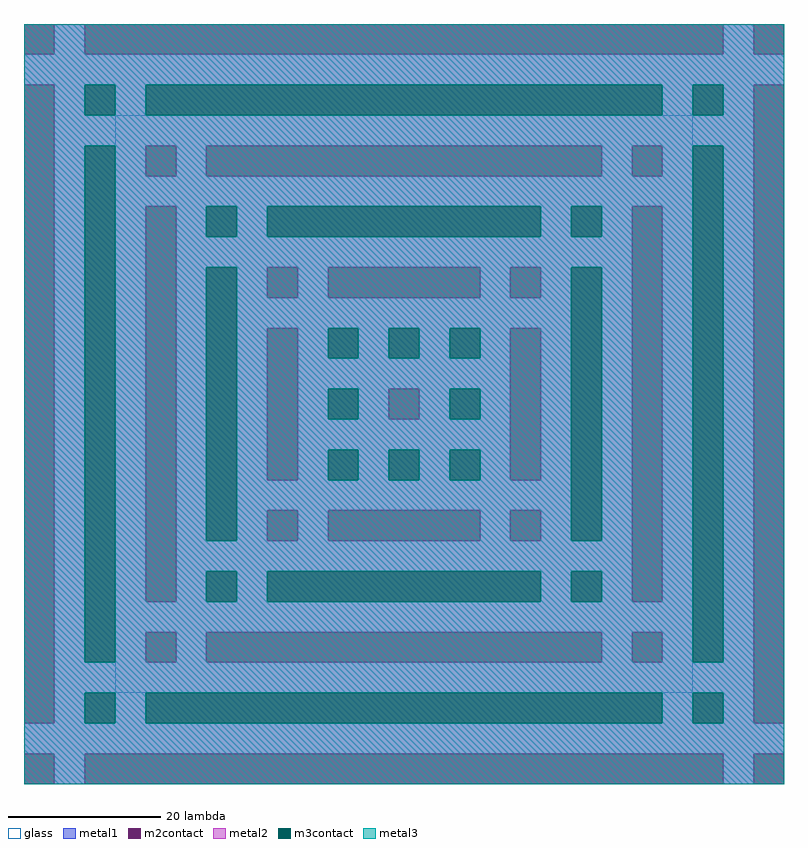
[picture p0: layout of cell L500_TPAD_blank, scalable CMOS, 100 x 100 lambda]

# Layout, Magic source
magic
tech scmos
<< metal1 >>
rect 4 96 8 100
rect 92 96 96 100
rect 0 92 100 96
rect 4 84 96 92
rect 4 80 16 84
rect 20 80 24 84
rect 76 80 80 84
rect 84 80 96 84
rect 4 76 96 80
rect 4 24 16 76
rect 20 68 80 76
rect 20 64 32 68
rect 36 64 40 68
rect 60 64 64 68
rect 68 64 80 68
rect 20 60 80 64
rect 20 40 32 60
rect 36 52 64 60
rect 36 48 48 52
rect 52 48 64 52
rect 36 40 64 48
rect 68 40 80 60
rect 20 36 80 40
rect 20 32 32 36
rect 36 32 40 36
rect 60 32 64 36
rect 68 32 80 36
rect 20 24 80 32
rect 84 24 96 76
rect 4 20 96 24
rect 4 16 16 20
rect 20 16 24 20
rect 76 16 80 20
rect 84 16 96 20
rect 4 8 96 16
rect 0 4 100 8
rect 4 0 8 4
rect 92 0 96 4
<< metal2 >>
rect 4 96 8 100
rect 92 96 96 100
rect 0 92 100 96
rect 4 88 8 92
rect 12 88 16 92
rect 84 88 88 92
rect 92 88 96 92
rect 4 84 96 88
rect 4 16 8 84
rect 12 80 16 84
rect 20 80 24 84
rect 76 80 80 84
rect 84 80 88 84
rect 12 76 88 80
rect 12 24 16 76
rect 20 72 24 76
rect 28 72 32 76
rect 68 72 72 76
rect 76 72 80 76
rect 20 68 80 72
rect 20 32 24 68
rect 28 64 32 68
rect 36 64 40 68
rect 60 64 64 68
rect 68 64 72 68
rect 28 60 72 64
rect 28 40 32 60
rect 36 56 40 60
rect 44 56 48 60
rect 52 56 56 60
rect 60 56 64 60
rect 36 52 64 56
rect 36 48 40 52
rect 44 48 48 52
rect 52 48 56 52
rect 60 48 64 52
rect 36 44 64 48
rect 36 40 40 44
rect 44 40 48 44
rect 52 40 56 44
rect 60 40 64 44
rect 68 40 72 60
rect 28 36 72 40
rect 28 32 32 36
rect 36 32 40 36
rect 60 32 64 36
rect 68 32 72 36
rect 76 32 80 68
rect 20 28 80 32
rect 20 24 24 28
rect 28 24 32 28
rect 68 24 72 28
rect 76 24 80 28
rect 84 24 88 76
rect 12 20 88 24
rect 12 16 16 20
rect 20 16 24 20
rect 76 16 80 20
rect 84 16 88 20
rect 92 16 96 84
rect 4 12 96 16
rect 4 8 8 12
rect 12 8 16 12
rect 84 8 88 12
rect 92 8 96 12
rect 0 4 100 8
rect 4 0 8 4
rect 92 0 96 4
<< metal3 >>
rect 0 92 100 100
rect 0 88 8 92
rect 12 88 16 92
rect 84 88 88 92
rect 92 88 100 92
rect 0 84 100 88
rect 0 16 8 84
rect 12 76 88 84
rect 12 72 24 76
rect 28 72 32 76
rect 68 72 72 76
rect 76 72 88 76
rect 12 68 88 72
rect 12 32 24 68
rect 28 60 72 68
rect 28 56 40 60
rect 44 56 48 60
rect 52 56 56 60
rect 60 56 72 60
rect 28 52 72 56
rect 28 48 40 52
rect 44 48 56 52
rect 60 48 72 52
rect 28 44 72 48
rect 28 40 40 44
rect 44 40 48 44
rect 52 40 56 44
rect 60 40 72 44
rect 28 32 72 40
rect 76 32 88 68
rect 12 28 88 32
rect 12 24 24 28
rect 28 24 32 28
rect 68 24 72 28
rect 76 24 88 28
rect 12 16 88 24
rect 92 16 100 84
rect 0 12 100 16
rect 0 8 8 12
rect 12 8 16 12
rect 84 8 88 12
rect 92 8 100 12
rect 0 0 100 8
<< m2contact >>
rect 0 96 4 100
rect 8 96 92 100
rect 96 96 100 100
rect 0 8 4 92
rect 16 80 20 84
rect 24 80 76 84
rect 80 80 84 84
rect 16 24 20 76
rect 32 64 36 68
rect 40 64 60 68
rect 64 64 68 68
rect 32 40 36 60
rect 48 48 52 52
rect 64 40 68 60
rect 32 32 36 36
rect 40 32 60 36
rect 64 32 68 36
rect 80 24 84 76
rect 16 16 20 20
rect 24 16 76 20
rect 80 16 84 20
rect 96 8 100 92
rect 0 0 4 4
rect 8 0 92 4
rect 96 0 100 4
<< m3contact >>
rect 8 88 12 92
rect 16 88 84 92
rect 88 88 92 92
rect 8 16 12 84
rect 24 72 28 76
rect 32 72 68 76
rect 72 72 76 76
rect 24 32 28 68
rect 40 56 44 60
rect 48 56 52 60
rect 56 56 60 60
rect 40 48 44 52
rect 56 48 60 52
rect 40 40 44 44
rect 48 40 52 44
rect 56 40 60 44
rect 72 32 76 68
rect 24 24 28 28
rect 32 24 68 28
rect 72 24 76 28
rect 88 16 92 84
rect 8 8 12 12
rect 16 8 84 12
rect 88 8 92 12
<< glass >>
rect 12 12 88 88
<< end >>
